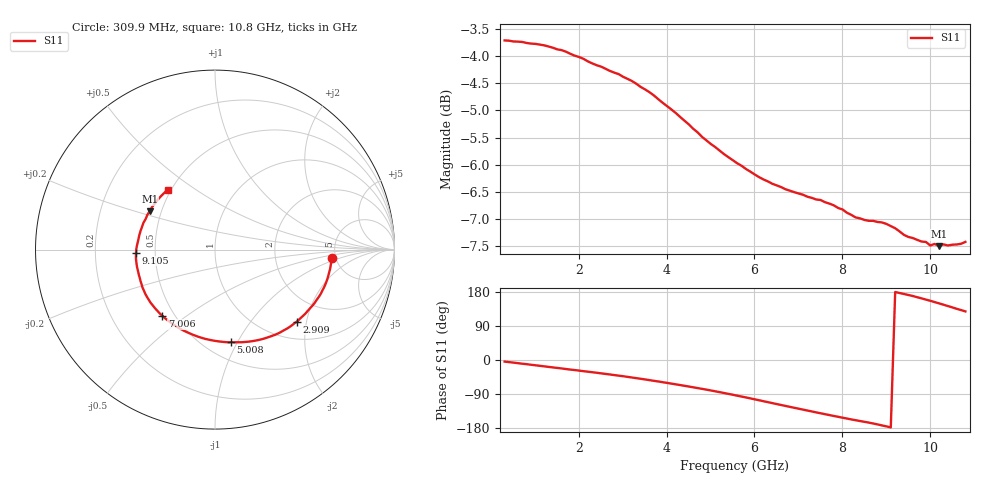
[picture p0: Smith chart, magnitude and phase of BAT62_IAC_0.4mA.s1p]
! Infineon Technologies  Discrete & RF Semiconductors
! BAT62
! IAC = 0.4 mA
! One-Port S-Parameters
# Hz  S  MA  R  50
!f  S11
!Hz  Mag  Ang
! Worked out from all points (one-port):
!   106 points, 309.9 MHz to 10.8 GHz, reference 50 ohm
!   lowest |S11| = -7.5 dB at 10.2 GHz (marker M1), VSWR 2.46, Z = 21.6 + j11.3 ohm
!   |S11| at or under -10 dB: nowhere
!   S11 on the Smith chart (normalised r, x): 309.9 MHz: 4.62, -0.77; 2.909 GHz: 1.38, -1.76; 5.008 GHz: 0.66, -0.94; 7.006 GHz: 0.43, -0.41; 9.105 GHz: 0.39, -0.02; 10.8 GHz: 0.48, +0.39
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3.0985e8  0.6523 -4.2
1.0095e9  0.6475 -13.9
1.70915e9  0.6369 -23.8
2.10895e9  0.6273 -29.6
2.4088e9  0.6189 -33.7
2.90855e9  0.6073 -41.3
3.0085e9  0.6039 -42.8
3.30835e9  0.5951 -47.9
3.70815e9  0.5806 -54.9
4.30785e9  0.5547 -66.1
4.70765e9  0.5368 -74.1
5.0075e9  0.5237 -80.4
5.6072e9  0.5028 -94.1
5.90705e9  0.494 -101.3
6.30685e9  0.4838 -111.2
6.90655e9  0.4729 -126.1
7.0065e9  0.4716 -128.5
7.4063e9  0.4657 -138.3
7.6062e9  0.463 -143.0
8.006e9  0.4559 -152.3
8.2059e9  0.4507 -156.8
8.70565e9  0.445 -167.6
9.10545e9  0.4401 -177.9
9.50525e9  0.4301 171.5
9.90505e9  0.4256 159.4
1.02049e10  0.4218 149.5
1.050475e10  0.4231 138.9
1.08046e10  0.4256 128.2
